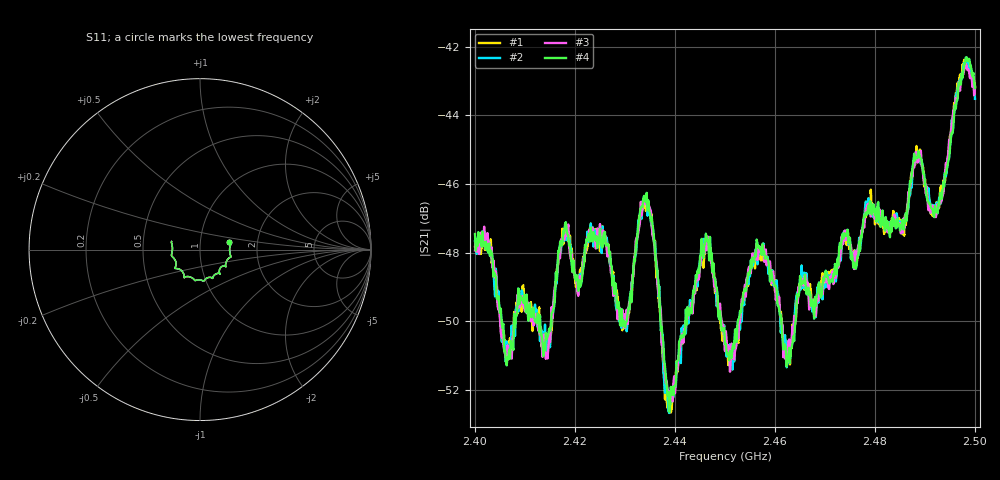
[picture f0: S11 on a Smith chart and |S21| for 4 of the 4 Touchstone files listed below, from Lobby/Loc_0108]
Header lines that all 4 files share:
# Hz S RI R
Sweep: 2.4 GHz to 2.5 GHz
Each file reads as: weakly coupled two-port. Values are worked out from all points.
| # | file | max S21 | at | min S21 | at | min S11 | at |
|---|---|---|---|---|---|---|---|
| 1 | Lab_139_4Ch1.s2p | -42.37 dB | 2.4978 GHz | -52.7 dB | 2.4392 GHz | -16.0 dB | 2.4862 GHz |
| 2 | Lab_139_5Ch1.s2p | -42.39 dB | 2.4982 GHz | -52.7 dB | 2.4388 GHz | -16.0 dB | 2.4862 GHz |
| 3 | Lab_139_8Ch1.s2p | -42.48 dB | 2.4982 GHz | -52.3 dB | 2.4395 GHz | -16.0 dB | 2.4862 GHz |
| 4 | Lab_139_9Ch1.s2p | -42.30 dB | 2.4983 GHz | -52.6 dB | 2.4388 GHz | -16.0 dB | 2.486 GHz |
